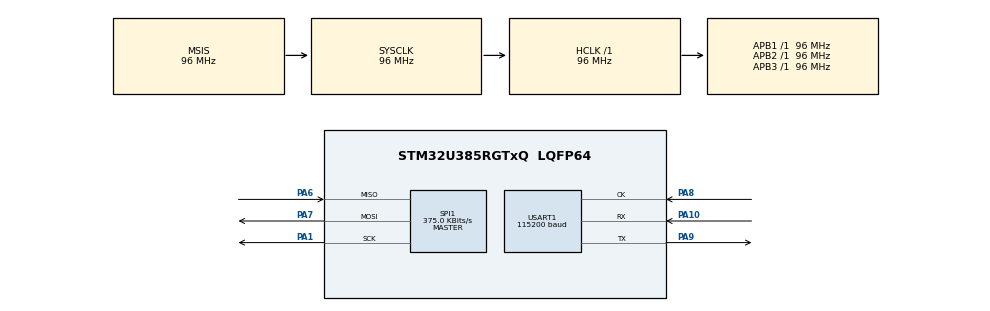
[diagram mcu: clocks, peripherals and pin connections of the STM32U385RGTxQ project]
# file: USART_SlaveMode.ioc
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CORTEX_M33_NS.userName=CORTEX_M33
Mcu.Family=STM32U3
Mcu.Name=STM32U385RGTxQ
Mcu.Package=LQFP64
NVIC.PriorityGroup=NVIC_PRIORITYGROUP_4
PA1.GPIO_PuPd=GPIO_PULLDOWN
PA1.GPIO_Speed=GPIO_SPEED_FREQ_VERY_HIGH
PA1.Mode=Full_Duplex_Master
PA1.Signal=SPI1_SCK
PA10.GPIO_PuPd=GPIO_PULLDOWN
PA10.GPIO_Speed=GPIO_SPEED_FREQ_VERY_HIGH
PA10.Mode=Synchronous Slave
PA10.Signal=USART1_RX
PA6.GPIO_PuPd=GPIO_PULLDOWN
PA6.GPIO_Speed=GPIO_SPEED_FREQ_VERY_HIGH
PA6.Mode=Full_Duplex_Master
PA6.Signal=SPI1_MISO
PA7.GPIO_PuPd=GPIO_PULLDOWN
PA7.GPIO_Speed=GPIO_SPEED_FREQ_VERY_HIGH
PA7.Mode=Full_Duplex_Master
PA7.Signal=SPI1_MOSI
PA8.GPIO_PuPd=GPIO_PULLDOWN
PA8.GPIO_Speed=GPIO_SPEED_FREQ_VERY_HIGH
PA8.Mode=Synchronous Slave
PA8.Signal=USART1_CK
PA9.GPIO_PuPd=GPIO_PULLDOWN
PA9.GPIO_Speed=GPIO_SPEED_FREQ_VERY_HIGH
PA9.Mode=Synchronous Slave
PA9.Signal=USART1_TX
ProjectManager.HeapSize=0x200
ProjectManager.StackSize=0x400
ProjectManager.TargetToolchain=EWARM V9.20
RCC.ADCFreq_Value=96000000
RCC.AHBFreq_Value=96000000
RCC.APB1Freq_Value=96000000
RCC.APB1TimFreq_Value=96000000
RCC.APB2Freq_Value=96000000
RCC.APB2TimFreq_Value=96000000
RCC.APB3Freq_Value=96000000
RCC.CortexFreq_Value=12000000
RCC.HCLKFreq_Value=96000000
RCC.HSE_VALUE=16000000
RCC.HSI48_VALUE=48000000
RCC.HSI_VALUE=16000000
RCC.LSE_VALUE=32768
RCC.LSIDIV_VALUE=32000
RCC.MSISDIV=RCC_MSI_DIV1
RCC.SYSCLKFreq_VALUE=96000000
RCC.USBFreq_Value=96000000
SPI1.BaudRatePrescaler=SPI_BAUDRATEPRESCALER_256
SPI1.CalculateBaudRate=375.0 KBits/s
SPI1.DataSize=SPI_DATASIZE_8BIT
SPI1.Direction=SPI_DIRECTION_2LINES
SPI1.FirstBit=SPI_FIRSTBIT_LSB
SPI1.Mode=SPI_MODE_MASTER
SPI1.NSSPMode=SPI_NSS_PULSE_DISABLE
SPI1.VirtualType=VM_MASTER
USART1.BaudRate=115200
USART1.VirtualMode-Synchronous\ Slave=VM_SYNC
VP_ICACHE_VS_ICACHE.Mode=DirectMappedCache
VP_PWR_VS_DBSignals.Mode=DisableDeadBatterySignals
VP_PWR_VS_LPOM.Mode=PowerOptimisation
VP_PWR_VS_SECSignals.Mode=Security/Privilege
board=custom

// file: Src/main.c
/* USER CODE BEGIN Header */
/**
  ******************************************************************************
  * @file    USART/USART_SlaveMode/Src/main.c
  * @author  MCD Application Team
  * @brief   This sample code shows how to use USART HAL API (USART instance)
  *          to set up a USART-SPI communication.
  *          Two boards are used, one configured as a SPI master and the second
  *          one configured as an USART slave.
  ******************************************************************************
  * @attention
  *
  * Copyright (c) 2024 STMicroelectronics.
  * All rights reserved.
  *
  * This software is licensed under terms that can be found in the LICENSE file
  * in the root directory of this software component.
  * If no LICENSE file comes with this software, it is provided AS-IS.
  *
  ******************************************************************************
  */
/* USER CODE END Header */
#include "main.h"

/* USER CODE BEGIN PD */
#define SLAVE_BOARD
/* USER CODE END PD */

SPI_HandleTypeDef hspi1;

USART_HandleTypeDef husart1;

/* USER CODE BEGIN PV */
__IO uint32_t UserButtonStatus = 0; /* set to 1 after User Button interrupt */

/* Buffer used for transmission */
uint8_t aTxBuffer[] = " **** USART_SlaveMode ****  **** USART_SlaveMode ****  **** USART_SlaveMode **** ";

/* Buffer used for reception */
uint8_t aRxBuffer[RXBUFFERSIZE];
/* USER CODE END PV */

void SystemClock_Config(void);
static void MX_GPIO_Init(void);
static void MX_SPI1_Init(void);
static void MX_USART1_Init(void);
static void MX_ICACHE_Init(void);
/* USER CODE BEGIN PFP */
static uint16_t Buffercmp(uint8_t* pBuffer1, uint8_t* pBuffer2, uint16_t BufferLength);
/* USER CODE END PFP */

int main(void)
{

  /* USER CODE BEGIN 1 */
  /* STM32U3xx HAL library initialization:
       - Configure the Flash prefetch
       - Configure the Systick to generate an interrupt each 1 msec
       - Set NVIC Group Priority to 3
       - Low Level Initialization
     */
  /* USER CODE END 1 */

  /* MCU Configuration--------------------------------------------------------*/

  /* Reset of all peripherals, Initializes the Flash interface and the Systick. */
  HAL_Init();

  /* Configure the system clock */
  SystemClock_Config();

  /* USER CODE BEGIN SysInit */
  /* Initialize BSP LED */
  BSP_LED_Init(LD2);
  /* USER CODE END SysInit */

  /* Initialize all configured peripherals */
  MX_GPIO_Init();
  MX_SPI1_Init();
  MX_USART1_Init();
  MX_ICACHE_Init();
  /* USER CODE BEGIN 2 */

#ifdef SLAVE_BOARD

  /*## Start the transmission/reception process ###########################*/
  if(HAL_USART_TransmitReceive(&husart1, (uint8_t*)aTxBuffer, (uint8_t*)aRxBuffer, TXBUFFERSIZE, 0x1FFFFFF)!= HAL_OK)
  {
    Error_Handler();
  }

#else

  /*## Configure the user button ##########################################*/

  /* Configure User push-button in Interrupt mode */
  BSP_PB_Init(BUTTON_USER, BUTTON_MODE_EXTI);

  /* Wait for User push-button press before starting the Communication.
     In the meantime, LD2 is blinking */
  while(UserButtonStatus == 0)
  {
    /* Toggle LD2 */
    BSP_LED_Toggle(LD2);
    HAL_Delay(100);
  }

  BSP_LED_Off(LD2);

  /*## Start the transmission/reception process ###########################*/
  if(HAL_SPI_TransmitReceive(&hspi1, (uint8_t*)aTxBuffer, (uint8_t*)aRxBuffer, TXBUFFERSIZE, 5000)!= HAL_OK)
  {
    Error_Handler();
  }

#endif /* SLAVE_BOARD */

  /*## Compare the sent and received buffers ##############################*/
  if(Buffercmp((uint8_t*)aTxBuffer,(uint8_t*)aRxBuffer,RXBUFFERSIZE))
  {
    Error_Handler();
  }

  /* Turn on LD2 if test passes then enter infinite loop */
  BSP_LED_On(LD2);

  /* The SPI Master board receives the message and sends it back */

  /* USER CODE END 2 */

  /* Infinite loop */
  while (1)
  {

  }
}

void SystemClock_Config(void)
{
  RCC_OscInitTypeDef RCC_OscInitStruct = {0};
  RCC_ClkInitTypeDef RCC_ClkInitStruct = {0};

  /** Enable Epod Booster
  */
  if (HAL_RCCEx_EpodBoosterClkConfig(RCC_EPODBOOSTER_SOURCE_MSIS, RCC_EPODBOOSTER_DIV1) != HAL_OK)
  {
    Error_Handler();
  }

  if (HAL_PWREx_EnableEpodBooster() != HAL_OK)
  {
    Error_Handler();
  }

  /** Configure the main internal regulator output voltage
  */
  if (HAL_PWREx_ControlVoltageScaling(PWR_REGULATOR_VOLTAGE_SCALE1) != HAL_OK)
  {
    Error_Handler();
  }

  /** Set Flash latency before increasing MSIS
  */
  __HAL_FLASH_SET_LATENCY(FLASH_LATENCY_2);

  /** Initializes the CPU, AHB and APB buses clocks
  */
  RCC_OscInitStruct.OscillatorType = RCC_OSCILLATORTYPE_MSIS;
  RCC_OscInitStruct.MSISState = RCC_MSI_ON;
  RCC_OscInitStruct.MSISSource = RCC_MSI_RC0;
  RCC_OscInitStruct.MSISDiv = RCC_MSI_DIV1;
  if (HAL_RCC_OscConfig(&RCC_OscInitStruct) != HAL_OK)
  {
    Error_Handler();
  }

  /** Initializes the CPU, AHB and APB buses clocks
  */
  RCC_ClkInitStruct.ClockType = RCC_CLOCKTYPE_HCLK|RCC_CLOCKTYPE_SYSCLK
                              |RCC_CLOCKTYPE_PCLK1|RCC_CLOCKTYPE_PCLK2
                              |RCC_CLOCKTYPE_PCLK3;
  RCC_ClkInitStruct.SYSCLKSource = RCC_SYSCLKSOURCE_MSIS;
  RCC_ClkInitStruct.AHBCLKDivider = RCC_SYSCLK_DIV1;
  RCC_ClkInitStruct.APB1CLKDivider = RCC_HCLK_DIV1;
  RCC_ClkInitStruct.APB2CLKDivider = RCC_HCLK_DIV1;
  RCC_ClkInitStruct.APB3CLKDivider = RCC_HCLK_DIV1;

  if (HAL_RCC_ClockConfig(&RCC_ClkInitStruct, FLASH_LATENCY_2) != HAL_OK)
  {
    Error_Handler();
  }
}

static void MX_ICACHE_Init(void)
{

  /** Enable instruction cache in 1-way (direct mapped cache)
  */
  if (HAL_ICACHE_ConfigAssociativityMode(ICACHE_1WAY) != HAL_OK)
  {
    Error_Handler();
  }
  if (HAL_ICACHE_Enable() != HAL_OK)
  {
    Error_Handler();
  }

}

static void MX_SPI1_Init(void)
{

  SPI_AutonomousModeConfTypeDef HAL_SPI_AutonomousMode_Cfg_Struct = {0};

  /* SPI1 parameter configuration*/
  hspi1.Instance = SPI1;
  hspi1.Init.Mode = SPI_MODE_MASTER;
  hspi1.Init.Direction = SPI_DIRECTION_2LINES;
  hspi1.Init.DataSize = SPI_DATASIZE_8BIT;
  hspi1.Init.CLKPolarity = SPI_POLARITY_LOW;
  hspi1.Init.CLKPhase = SPI_PHASE_1EDGE;
  hspi1.Init.NSS = SPI_NSS_SOFT;
  hspi1.Init.BaudRatePrescaler = SPI_BAUDRATEPRESCALER_256;
  hspi1.Init.FirstBit = SPI_FIRSTBIT_LSB;
  hspi1.Init.TIMode = SPI_TIMODE_DISABLE;
  hspi1.Init.CRCCalculation = SPI_CRCCALCULATION_DISABLE;
  hspi1.Init.CRCPolynomial = 0x7;
  hspi1.Init.NSSPMode = SPI_NSS_PULSE_DISABLE;
  hspi1.Init.NSSPolarity = SPI_NSS_POLARITY_LOW;
  hspi1.Init.FifoThreshold = SPI_FIFO_THRESHOLD_01DATA;
  hspi1.Init.MasterSSIdleness = SPI_MASTER_SS_IDLENESS_00CYCLE;
  hspi1.Init.MasterInterDataIdleness = SPI_MASTER_INTERDATA_IDLENESS_00CYCLE;
  hspi1.Init.MasterReceiverAutoSusp = SPI_MASTER_RX_AUTOSUSP_DISABLE;
  hspi1.Init.MasterKeepIOState = SPI_MASTER_KEEP_IO_STATE_DISABLE;
  hspi1.Init.IOSwap = SPI_IO_SWAP_DISABLE;
  hspi1.Init.ReadyMasterManagement = SPI_RDY_MASTER_MANAGEMENT_INTERNALLY;
  hspi1.Init.ReadyPolarity = SPI_RDY_POLARITY_HIGH;
  if (HAL_SPI_Init(&hspi1) != HAL_OK)
  {
    Error_Handler();
  }
  HAL_SPI_AutonomousMode_Cfg_Struct.TriggerState = SPI_AUTO_MODE_DISABLE;
  HAL_SPI_AutonomousMode_Cfg_Struct.TriggerSelection = SPI_GRP1_GPDMA_CH0_TCF_TRG;
  HAL_SPI_AutonomousMode_Cfg_Struct.TriggerPolarity = SPI_TRIG_POLARITY_RISING;
  if (HAL_SPIEx_SetConfigAutonomousMode(&hspi1, &HAL_SPI_AutonomousMode_Cfg_Struct) != HAL_OK)
  {
    Error_Handler();
  }

}

static void MX_USART1_Init(void)
{

  husart1.Instance = USART1;
  husart1.Init.BaudRate = 115200;
  husart1.Init.WordLength = USART_WORDLENGTH_8B;
  husart1.Init.StopBits = USART_STOPBITS_1;
  husart1.Init.Parity = USART_PARITY_NONE;
  husart1.Init.Mode = USART_MODE_TX_RX;
  husart1.Init.CLKPolarity = USART_POLARITY_LOW;
  husart1.Init.CLKPhase = USART_PHASE_1EDGE;
  husart1.Init.CLKLastBit = USART_LASTBIT_DISABLE;
  husart1.Init.ClockPrescaler = USART_PRESCALER_DIV1;
  husart1.SlaveMode = USART_SLAVEMODE_ENABLE;
  if (HAL_USART_Init(&husart1) != HAL_OK)
  {
    Error_Handler();
  }
  if (HAL_USARTEx_SetTxFifoThreshold(&husart1, USART_TXFIFO_THRESHOLD_1_8) != HAL_OK)
  {
    Error_Handler();
  }
  if (HAL_USARTEx_SetRxFifoThreshold(&husart1, USART_RXFIFO_THRESHOLD_1_8) != HAL_OK)
  {
    Error_Handler();
  }
  if (HAL_USARTEx_DisableFifoMode(&husart1) != HAL_OK)
  {
    Error_Handler();
  }
  if (HAL_USARTEx_EnableSlaveMode(&husart1) != HAL_OK)
  {
    Error_Handler();
  }

}

static void MX_GPIO_Init(void)
{

  /* GPIO Ports Clock Enable */
  __HAL_RCC_GPIOA_CLK_ENABLE();

}

/* USER CODE BEGIN 4 */
/**
  * @brief EXTI line detection callbacks
  * @param GPIO_Pin: Specifies the pins connected EXTI line
  * @retval None
  */
void HAL_GPIO_EXTI_Rising_Callback(uint16_t GPIO_Pin)
{
  if (GPIO_Pin == BUTTON_USER_PIN)
  {
    UserButtonStatus = 1;
  }
}

/**
  * @brief  Compares two buffers.
  * @param  pBuffer1, pBuffer2: buffers to be compared.
  * @param  BufferLength: buffer's length
  * @retval 0  : pBuffer1 identical to pBuffer2
  *         >0 : pBuffer1 differs from pBuffer2
  */
static uint16_t Buffercmp(uint8_t* pBuffer1, uint8_t* pBuffer2, uint16_t BufferLength)
{
  while (BufferLength--)
  {
    if ((*pBuffer1) != *pBuffer2)
    {
      return BufferLength;
    }
    pBuffer1++;
    pBuffer2++;
  }

  return 0;
}

/* USER CODE END 4 */

void Error_Handler(void)
{
  /* USER CODE BEGIN Error_Handler_Debug */
  /* User can add his own implementation to report the HAL error return state */
  while(1)
  {
    /* LD2 is blinking */
    BSP_LED_Toggle(LD2);
    HAL_Delay(500);
  }
  /* USER CODE END Error_Handler_Debug */
}
